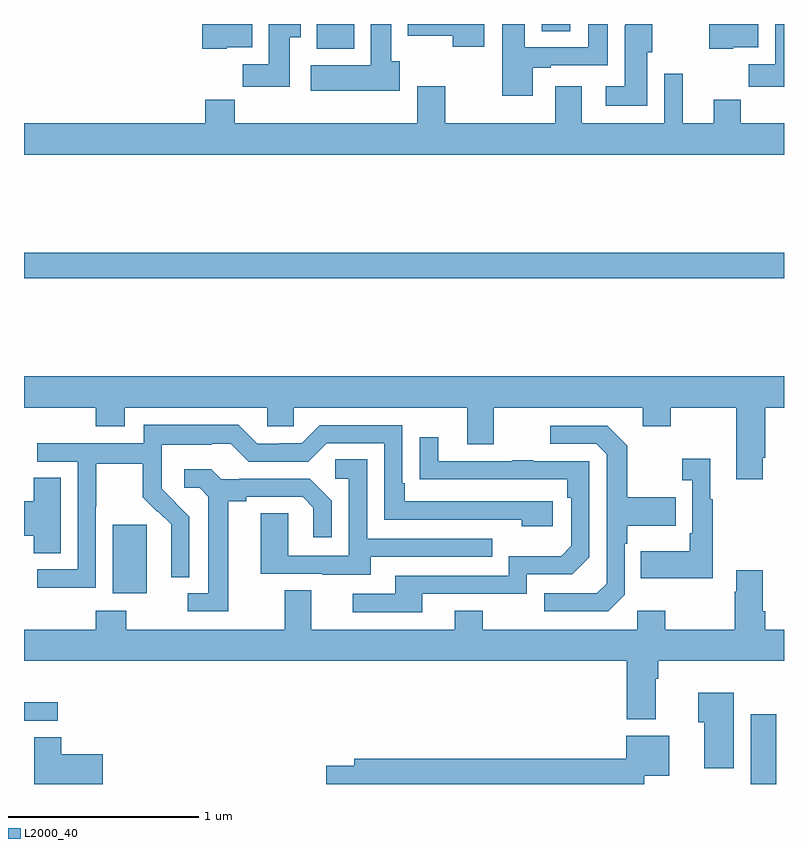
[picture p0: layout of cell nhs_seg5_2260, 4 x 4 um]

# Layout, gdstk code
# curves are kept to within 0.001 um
import gdstk
lib = gdstk.Library(unit=1e-6, precision=1e-09)
def R(c, l, rs):  # rectangles x0, y0, x1, y1
    for r in rs: c.add(gdstk.rectangle(r[:2], r[2:], *l))
def P(c, l, *ps):  # polygons
    for p in ps: c.add(gdstk.Polygon(p, *l))
L2000_40 = (2000, 40)

nhs_seg5_2260 = lib.new_cell('nhs_seg5_2260')
R(nhs_seg5_2260, L2000_40, [(246.824,834.799,246.958,835.165), (243,835.131,243.178,835.23), (243.467,835.802,243.646,836.163), (243,837.46,247,837.596), (244.541,838.67,244.738,838.799), (245.726,838.762,245.875,838.799)])
P(nhs_seg5_2260, L2000_40, [(244.399,838.729),(244.456,838.729),(244.456,838.799),(244.289,838.799),(244.289,838.588),(244.15,838.588),(244.15,838.47),(244.399,838.47)],
  [(245.677,838.569),(245.773,838.569),(245.773,838.581),(246.073,838.581),(246.073,838.799),(245.969,838.799),(245.969,838.677),(245.635,838.677),(245.635,838.799),(245.516,838.799),(245.516,838.422),(245.677,838.422)],
  [(244.068,838.676),(244.201,838.676),(244.201,838.799),(243.938,838.799),(243.938,838.67),(244.068,838.67)],
  [(247,838.799),(246.953,838.799),(246.953,838.588),(246.814,838.588),(246.814,838.47),(247,838.47)],
  [(244.978,838.602),(244.933,838.602),(244.933,838.799),(244.826,838.799),(244.826,838.582),(244.509,838.582),(244.509,838.448),(244.978,838.448)],
  [(245.422,838.799),(245.021,838.799),(245.021,838.736),(245.257,838.736),(245.257,838.68),(245.422,838.68)],
  [(246.732,838.676),(246.865,838.676),(246.865,838.799),(246.607,838.799),(246.607,838.67),(246.732,838.67)],
  [(246.28,838.65),(246.306,838.65),(246.306,838.799),(246.165,838.799),(246.165,838.79),(246.161,838.79),(246.161,838.471),(246.063,838.471),(246.063,838.37),(246.28,838.37)],
  [(247,838.276),(246.773,838.276),(246.773,838.4),(246.629,838.4),(246.629,838.276),(246.466,838.276),(246.466,838.537),(246.369,838.537),(246.369,838.276),(245.935,838.276),(245.935,838.471),(245.795,838.471),(245.795,838.276),(245.217,838.276),(245.217,838.471),(245.069,838.471),(245.069,838.276),(244.109,838.276),(244.109,838.4),(243.953,838.4),(243.953,838.276),(243,838.276),(243,838.112),(247,838.112)],
  [(246.889,836.515),(246.902,836.515),(246.902,836.78),(247,836.78),(247,836.944),(243,836.944),(243,836.78),(243.377,836.78),(243.377,836.681),(243.529,836.681),(243.529,836.78),(244.281,836.78),(244.281,836.682),(244.419,836.682),(244.419,836.78),(245.333,836.78),(245.333,836.586),(245.473,836.586),(245.473,836.78),(246.257,836.78),(246.257,836.681),(246.405,836.681),(246.405,836.78),(246.749,836.78),(246.749,836.403),(246.889,836.403)],
  [(243.378,836.26),(243.381,836.26),(243.381,836.484),(243.625,836.484),(243.625,836.309),(243.702,836.232),(243.705,836.235),(243.776,836.165),(243.776,836.042),(243.774,836.042),(243.774,835.888),(243.87,835.888),(243.87,836.206),(243.724,836.354),(243.724,836.451),(243.726,836.451),(243.726,836.585),(243.989,836.585),(243.989,836.589),(244.089,836.589),(244.182,836.496),(244.497,836.496),(244.593,836.592),(244.896,836.592),(244.896,836.19),(245.621,836.19),(245.621,836.156),(245.782,836.156),(245.782,836.286),(245.005,836.286),(245.005,836.383),(244.992,836.383),(244.992,836.688),(244.557,836.688),(244.461,836.592),(244.343,836.592),(244.343,836.589),(244.227,836.589),(244.127,836.689),(243.63,836.689),(243.63,836.592),(243.069,836.592),(243.069,836.496),(243.282,836.496),(243.282,835.929),(243.069,835.929),(243.069,835.831),(243.378,835.831)],
  [(246.162,835.794),(246.162,836.063),(246.175,836.063),(246.175,836.159),(246.431,836.159),(246.431,836.307),(246.175,836.307),(246.175,836.579),(246.069,836.685),(245.769,836.685),(245.769,836.589),(246.012,836.589),(246.066,836.535),(246.066,835.854),(246.015,835.803),(245.739,835.803),(245.739,835.707),(246.075,835.707)],
  [(245.095,835.8),(245.646,835.8),(245.646,835.902),(245.886,835.902),(245.976,835.992),(245.976,836.499),(245.681,836.499),(245.681,836.504),(245.569,836.504),(245.569,836.499),(245.179,836.499),(245.179,836.623),(245.083,836.623),(245.083,836.404),(245.86,836.403),(245.86,836.306),(245.88,836.306),(245.88,836.052),(245.827,835.999),(245.55,835.999),(245.55,835.896),(244.955,835.896),(244.955,835.8),(244.731,835.8),(244.731,835.704),(245.095,835.704)],
  [(246.625,836.299),(246.613,836.299),(246.613,836.512),(246.465,836.512),(246.465,836.399),(246.516,836.399),(246.516,836.119),(246.504,836.119),(246.504,836.023),(246.247,836.023),(246.247,835.883),(246.625,835.883)],
  [(244.825,835.995),(245.465,835.995),(245.465,836.091),(244.806,836.091),(244.806,836.507),(244.638,836.507),(244.638,836.406),(244.71,836.406),(244.71,836.001),(244.392,836.001),(244.392,836.225),(244.247,836.225),(244.247,835.905),(244.571,835.905),(244.571,835.901),(244.825,835.901)],
  [(244.075,836.288),(244.171,836.288),(244.171,836.31),(244.466,836.31),(244.523,836.253),(244.523,836.097),(244.62,836.097),(244.62,836.29),(244.504,836.406),(244.132,836.406),(244.132,836.403),(244.038,836.403),(243.986,836.455),(243.843,836.455),(243.843,836.358),(243.924,836.358),(243.971,836.311),(243.971,835.803),(243.861,835.803),(243.861,835.707),(244.075,835.707)],
  [(243.193,836.411),(243.05,836.411),(243.05,836.288),(243,836.288),(243,836.105),(243.05,836.105),(243.05,836.014),(243.193,836.014)],
  [(246.325,835.352),(246.338,835.352),(246.338,835.448),(247,835.448),(247,835.612),(246.902,835.612),(246.902,835.708),(246.889,835.708),(246.889,835.924),(246.749,835.924),(246.749,835.811),(246.742,835.811),(246.742,835.612),(246.375,835.612),(246.375,835.711),(246.228,835.711),(246.228,835.612),(245.415,835.612),(245.415,835.711),(245.267,835.711),(245.267,835.612),(244.513,835.612),(244.513,835.82),(244.373,835.82),(244.373,835.612),(243.537,835.612),(243.537,835.711),(243.377,835.711),(243.377,835.612),(243,835.612),(243,835.448),(246.173,835.448),(246.173,835.139),(246.325,835.139)],
  [(246.736,835.279),(246.548,835.279),(246.548,835.123),(246.581,835.123),(246.581,834.882),(246.736,834.882)],
  [(246.264,834.842),(246.397,834.842),(246.397,835.054),(246.17,835.054),(246.17,834.932),(244.739,834.932),(244.739,834.896),(244.59,834.896),(244.59,834.799),(246.264,834.799)],
  [(243.415,834.956),(243.197,834.956),(243.197,835.046),(243.053,835.046),(243.053,834.799),(243.415,834.799)])

lib.write_gds('nhs_seg5_2260.gds')
